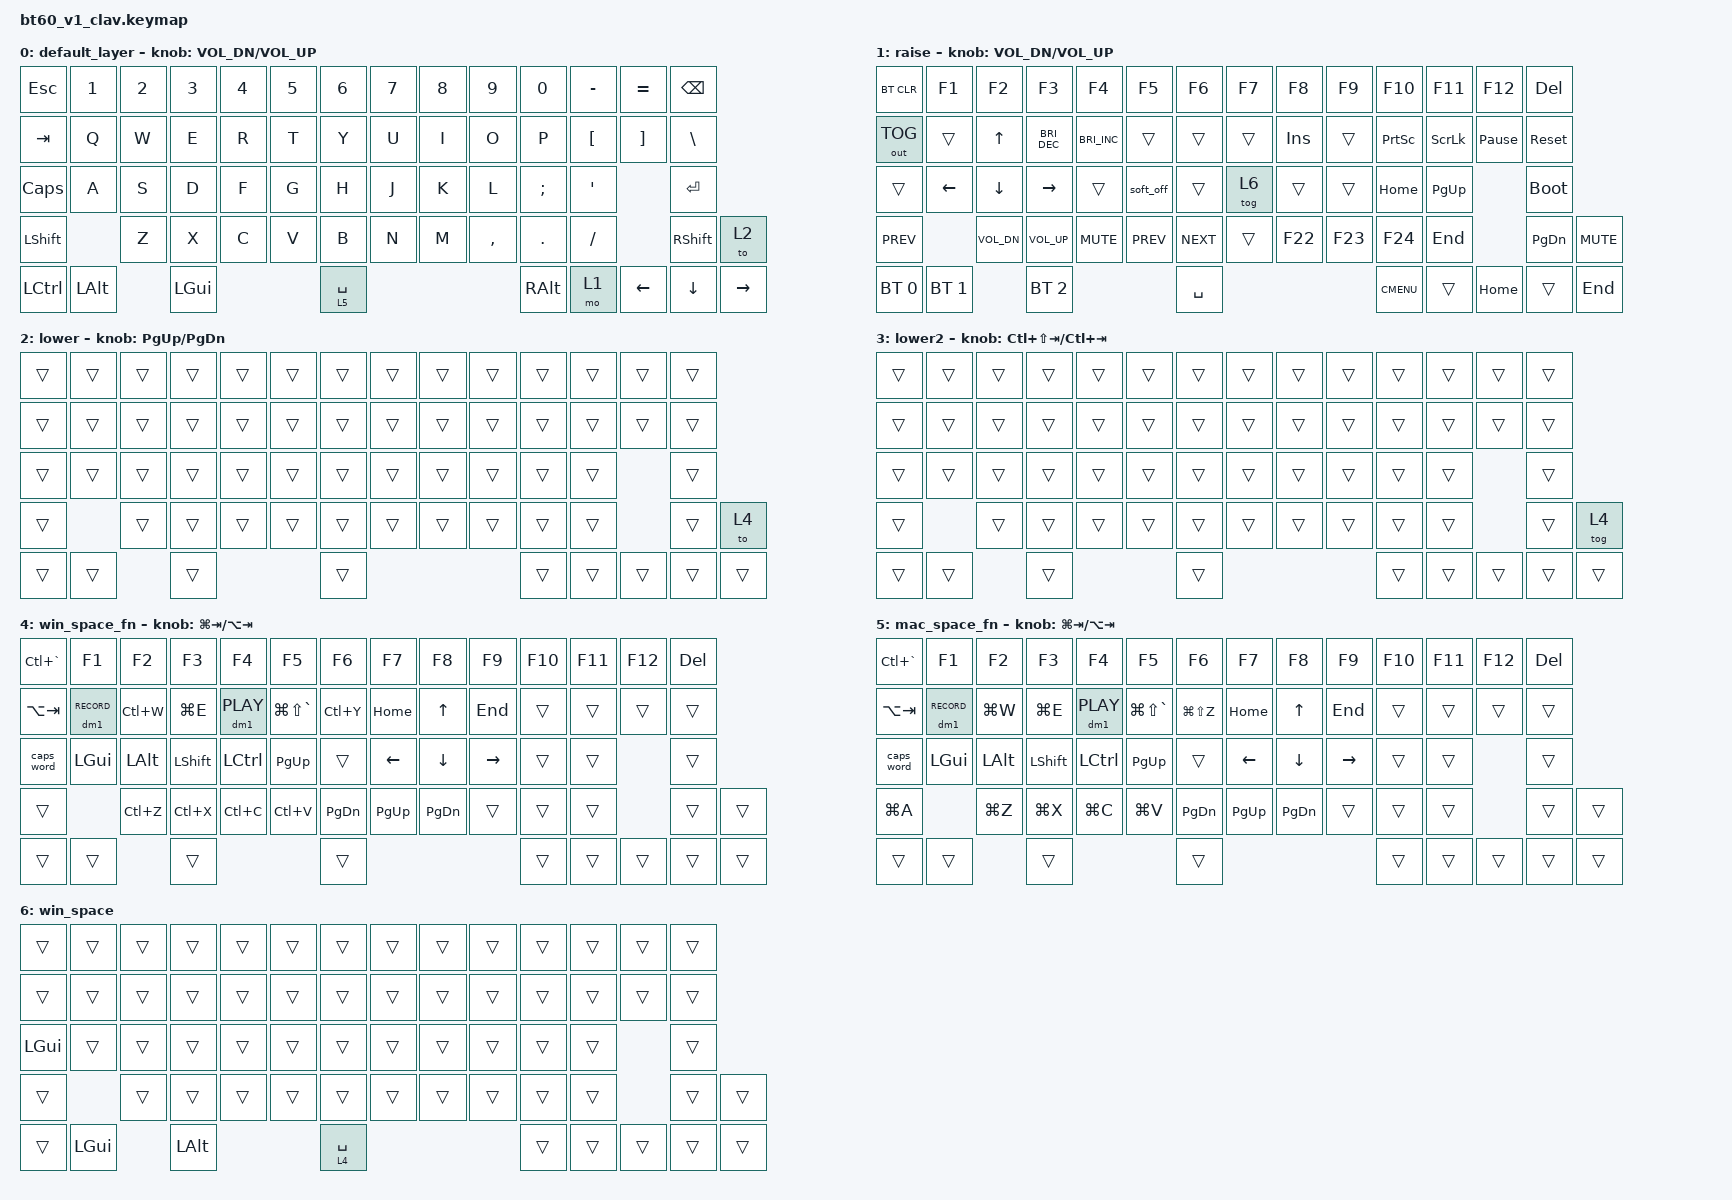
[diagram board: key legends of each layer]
#include <dt-bindings/zmk/dynamic-macros.h> 
#include <dt-bindings/zmk/kscan_mock.h>
#include <behaviors.dtsi>
#include <dt-bindings/zmk/bt.h>
#include <dt-bindings/zmk/keys.h>
#include <dt-bindings/zmk/outputs.h>


//#include <dt-bindings/zmk/mouse.h>
// Encoder resolutions

&left_encoder { resolution = <2>; };

/ {
    combos {
        compatible = "zmk,combos";

        combo_grave {
            timeout-ms = <50>;
            key-positions = <0 1>;
            bindings = <&kp GRAVE>;
        };

        combo_del {
            timeout-ms = <50>;
            key-positions = <12 13>;
            bindings = <&kp DELETE>;
        };

        combo_up {
            timeout-ms = <50>;
            key-positions = <61 62>;
            bindings = <&kp UP>;
        };

        //        combo_jk {
        //            timeout-ms = <30>;
        //            key-positions = <35 36>;
        //            bindings = <&kp RIGHT_ARROW>;
        //        };
    };
};

/ {
    behavoirs {
        gqt: global-quick-tap {
            compatible = "zmk,behavior-hold-tap";
            label = "GLOBAL_QUICK_TAP";
            #binding-cells = <2>;
            flavor = "tap-preferred";
            tapping-term-ms = <200>;
            quick-tap-ms = <125>;
            require-prior-idle-ms = <125>;
            bindings = <&mo>, <&kp>;
        };

        td0: tap_dance_0 {
            compatible = "zmk,behavior-tap-dance";
            label = "TAP_DANCE_0";
            #binding-cells = <0>;
            tapping-term-ms = <200>;
            bindings = <&mo 2>, <&mo 4>;
        };
    };

    macros {
        //        win_shift_grave: win_shift_grave {
        //            label = "win_shift_grave";
        //            compatible = "zmk,behavior-macro";
        //            #binding-cells = <0>;
        //	    wait-ms = <40>;
        //	    tap-ms = <40>;
        //            bindings
        //                = <&macro_press &kp LGUI &kp LSHFT>
        //                , <&macro_tap &kp GRAVE>
        //                , <&macro_release &kp LGUI &kp LSHFT>
        //                ;
        //        };

        dm1: dm1 {
            compatible = "zmk,behavior-dynamic-macro";
            label = "dynamic-macro-1";
            wait-ms = <15>;
            #binding-cells = <1>;
        };
    };


    keymap {
        compatible = "zmk,keymap";

        default_layer {
            // ------------------------------------------------------------------------------------------
            // | ESC |  1  |  2  |  3  |  4  |  5  |  6  |  7  |  8  |  9  |  0  |  -  |  =  |   BKSP   |
            // | TAB  |  Q  |  W  |  E  |  R  |  T  |  Y  |  U  |  I  |  O  |  P  |  [  |  ]  |   "|"   |
            // | CAPS  |  A  |  S  |  D  |  F  |  G  |  H  |  J  |  K  |  L  |  ;  |  '  |     ENTER    |
            // |  SHIFT    |  Z  |  X  |  C  |  V  |  B  |  N  |  M  |  ,  |  .  | /   |     SHIFT      |
            // |  CTL  |  WIN  |  ALT  |                     SPACE               |   ALT   |  1  | CTRL |
            // ------------------------------------------------------------------------------------------

            bindings = <
&kp ESC    &kp N1        &kp N2  &kp N3    &kp N4  &kp N5  &kp N6        &kp N7  &kp N8  &kp N9     &kp N0    &kp MINUS  &kp EQUAL    &kp BSPC
&kp TAB    &kp Q         &kp W   &kp E     &kp R   &kp T   &kp Y         &kp U   &kp I   &kp O      &kp P     &kp LBKT   &kp RBKT     &kp BSLH
&kp CAPS   &kp A         &kp S   &kp D     &kp F   &kp G   &kp H         &kp J   &kp K   &kp L      &kp SEMI  &kp SQT                 &kp RET
&kp LSHFT                &kp Z   &kp X     &kp C   &kp V   &kp B         &kp N   &kp M   &kp COMMA  &kp DOT   &kp FSLH                &kp RSHFT  &to 2
&kp LCTRL  &kp LEFT_ALT          &kp LGUI                  &gqt 5 SPACE                             &kp RALT  &mo 1      &kp LEFT     &kp DOWN   &kp RIGHT
            >;

            sensor-bindings = <&inc_dec_kp C_VOL_DN C_VOL_UP>;
        };

        raise {
            bindings = <
&bt BT_CLR    &kp F1        &kp F2        &kp F3                &kp F4                &kp F5      &kp F6      &kp F7  &kp F8   &kp F9   &kp F10      &kp F11    &kp F12            &kp DEL
&out OUT_TOG  &trans        &kp UP        &kp C_BRIGHTNESS_DEC  &kp C_BRIGHTNESS_INC  &trans      &trans      &trans  &kp INS  &trans   &kp PSCRN    &kp SLCK   &kp PAUSE_BREAK    &sys_reset
&trans        &kp LEFT      &kp DOWN      &kp RIGHT             &trans                &soft_off   &trans      &tog 6  &trans   &trans   &kp HOME     &kp PG_UP                     &bootloader
&kp C_PREV                  &kp C_VOL_DN  &kp C_VOL_UP          &kp C_MUTE            &kp C_PREV  &kp C_NEXT  &trans  &kp F22  &kp F23  &kp F24      &kp END                       &kp PG_DN    &kp C_MUTE
&bt BT_SEL 0  &bt BT_SEL 1                &bt BT_SEL 2                                            &kp SPACE                             &kp K_CMENU  &trans     &kp HOME           &trans       &kp END
            >;

            sensor-bindings = <&inc_dec_kp C_VOL_DN C_VOL_UP>;
        };

        lower {
            bindings = <
&trans  &trans  &trans  &trans  &trans  &trans  &trans  &trans  &trans  &trans  &trans  &trans  &trans    &trans
&trans  &trans  &trans  &trans  &trans  &trans  &trans  &trans  &trans  &trans  &trans  &trans  &trans    &trans
&trans  &trans  &trans  &trans  &trans  &trans  &trans  &trans  &trans  &trans  &trans  &trans            &trans
&trans          &trans  &trans  &trans  &trans  &trans  &trans  &trans  &trans  &trans  &trans            &trans  &to 4
&trans  &trans          &trans                  &trans                          &trans  &trans  &trans    &trans  &trans
            >;

            sensor-bindings = <&inc_dec_kp PAGE_UP PAGE_DOWN>;
        };

        lower2 {
            bindings = <
&trans  &trans  &trans  &trans  &trans  &trans  &trans  &trans  &trans  &trans  &trans  &trans  &trans    &trans
&trans  &trans  &trans  &trans  &trans  &trans  &trans  &trans  &trans  &trans  &trans  &trans  &trans    &trans
&trans  &trans  &trans  &trans  &trans  &trans  &trans  &trans  &trans  &trans  &trans  &trans            &trans
&trans          &trans  &trans  &trans  &trans  &trans  &trans  &trans  &trans  &trans  &trans            &trans  &tog 4
&trans  &trans          &trans                  &trans                          &trans  &trans  &trans    &trans  &trans
            >;

            sensor-bindings = <&inc_dec_kp LC(LS(TAB)) LC(TAB)>;
        };

        win_space_fn {
            bindings = <
&kp LC(GRAVE)  &kp F1       &kp F2     &kp F3      &kp F4     &kp F5             &kp F6     &kp F7     &kp F8     &kp F9     &kp F10  &kp F11  &kp F12    &kp DEL
&kp LA(TAB)    &dm1 RECORD  &kp LC(W)  &kp LG(E)   &dm1 PLAY  &kp LG(LS(GRAVE))  &kp LC(Y)  &kp HOME   &kp UP     &kp END    &trans   &trans   &trans     &trans
&caps_word     &kp LGUI     &kp LALT   &kp LSHIFT  &kp LCTRL  &kp PG_UP          &trans     &kp LEFT   &kp DOWN   &kp RIGHT  &trans   &trans              &trans
&trans                      &kp LC(Z)  &kp LC(X)   &kp LC(C)  &kp LC(V)          &kp PG_DN  &kp PG_UP  &kp PG_DN  &trans     &trans   &trans              &trans   &trans
&trans         &trans                  &trans                                    &trans                                      &trans   &trans   &trans     &trans   &trans
            >;

            sensor-bindings = <&inc_dec_kp LG(TAB) LA(TAB)>;
        };

        mac_space_fn {
            bindings = <
&kp LC(GRAVE)  &kp F1       &kp F2     &kp F3      &kp F4     &kp F5             &kp F6         &kp F7     &kp F8     &kp F9     &kp F10  &kp F11  &kp F12    &kp DEL
&kp LA(TAB)    &dm1 RECORD  &kp LG(W)  &kp LG(E)   &dm1 PLAY  &kp LG(LS(GRAVE))  &kp LG(LS(Z))  &kp HOME   &kp UP     &kp END    &trans   &trans   &trans     &trans
&caps_word     &kp LGUI     &kp LALT   &kp LSHIFT  &kp LCTRL  &kp PG_UP          &trans         &kp LEFT   &kp DOWN   &kp RIGHT  &trans   &trans              &trans
&kp LG(A)                   &kp LG(Z)  &kp LG(X)   &kp LG(C)  &kp LG(V)          &kp PG_DN      &kp PG_UP  &kp PG_DN  &trans     &trans   &trans              &trans   &trans
&trans         &trans                  &trans                                    &trans                                          &trans   &trans   &trans     &trans   &trans
            >;

            sensor-bindings = <&inc_dec_kp LG(TAB) LA(TAB)>;
        };

        win_space {
            bindings = <
&trans    &trans  &trans  &trans  &trans  &trans  &trans        &trans  &trans  &trans  &trans  &trans  &trans    &trans
&trans    &trans  &trans  &trans  &trans  &trans  &trans        &trans  &trans  &trans  &trans  &trans  &trans    &trans
&kp LGUI  &trans  &trans  &trans  &trans  &trans  &trans        &trans  &trans  &trans  &trans  &trans            &trans
&trans            &trans  &trans  &trans  &trans  &trans        &trans  &trans  &trans  &trans  &trans            &trans  &trans
&trans    &kp LGUI           &kp LALT                   &gqt 4 SPACE                          &trans  &trans  &trans    &trans  &trans
            >;
        };
    };
};
